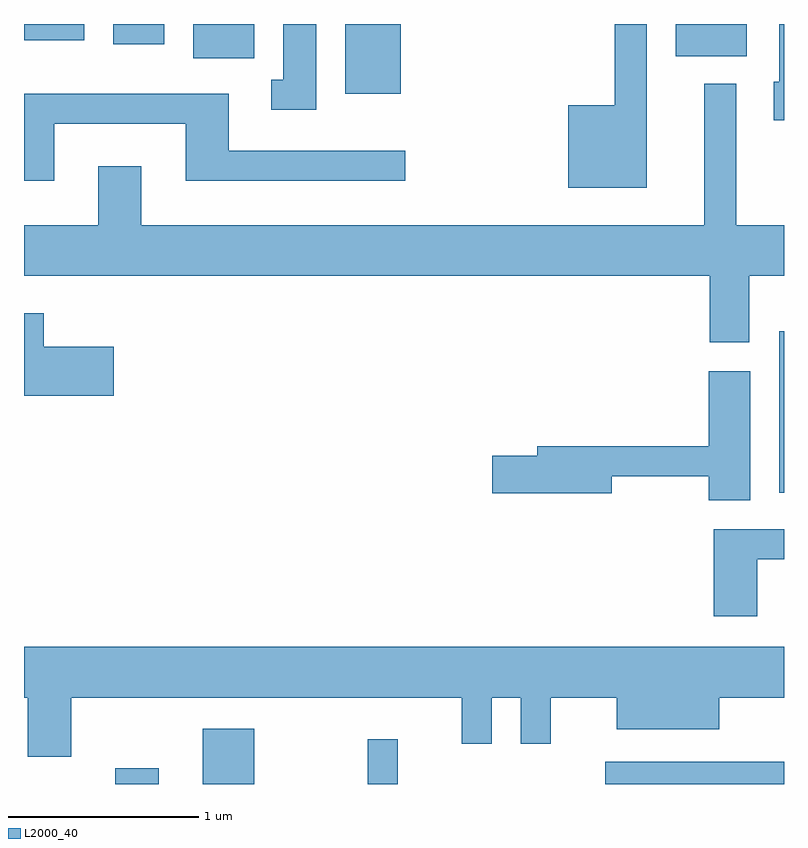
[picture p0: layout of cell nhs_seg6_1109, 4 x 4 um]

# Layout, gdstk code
import gdstk
lib = gdstk.Library(unit=1e-6, precision=1e-09)
def R(c, l, rs):  # rectangles x0, y0, x1, y1
    for r in rs: c.add(gdstk.rectangle(r[:2], r[2:], *l))
def P(c, l, *ps):  # polygons
    for p in ps: c.add(gdstk.Polygon(p, *l))
L2000_40 = (2000, 40)

nhs_seg6_1109 = lib.new_cell('nhs_seg6_1109')
R(nhs_seg6_1109, L2000_40, [(218.091,1636.162,218.319,1636.244), (218.551,1636.162,218.824,1636.454), (219.421,1636.162,219.579,1636.398), (220.671,1636.162,221.611,1636.279), (221.586,1637.696,221.611,1638.544), (219.301,1639.796,219.594,1640.162), (218.501,1639.981,218.824,1640.162), (221.041,1639.991,221.414,1640.162), (218.081,1640.056,218.349,1640.162), (217.611,1640.076,217.929,1640.162)])
P(nhs_seg6_1109, L2000_40, [(219.149,1640.162),(218.976,1640.162),(218.976,1639.869),(218.913,1639.869),(218.913,1639.711),(219.149,1639.711)],
  [(221.611,1640.162),(221.586,1640.162),(221.586,1639.859),(221.556,1639.859),(221.556,1639.656),(221.611,1639.656)],
  [(220.889,1640.162),(220.721,1640.162),(220.721,1639.734),(220.476,1639.734),(220.476,1639.301),(220.889,1639.301)],
  [(221.429,1638.836),(221.611,1638.836),(221.611,1639.104),(221.359,1639.104),(221.359,1639.848),(221.191,1639.848),(221.191,1639.104),(218.229,1639.104),(218.229,1639.414),(218.001,1639.414),(218.001,1639.104),(217.611,1639.104),(217.611,1638.836),(221.221,1638.836),(221.221,1638.486),(221.429,1638.486)],
  [(217.769,1639.636),(218.461,1639.636),(218.461,1639.336),(219.618,1639.336),(219.618,1639.494),(218.689,1639.494),(218.689,1639.794),(217.611,1639.794),(217.611,1639.336),(217.769,1639.336)],
  [(218.084,1638.464),(217.714,1638.464),(217.714,1638.639),(217.611,1638.639),(217.611,1638.206),(218.084,1638.206)],
  [(221.434,1638.334),(221.216,1638.334),(221.216,1637.939),(220.311,1637.939),(220.311,1637.889),(220.076,1637.889),(220.076,1637.691),(220.704,1637.691),(220.704,1637.781),(221.216,1637.781),(221.216,1637.656),(221.434,1637.656)],
  [(221.469,1637.346),(221.611,1637.346),(221.611,1637.504),(221.241,1637.504),(221.241,1637.046),(221.469,1637.046)],
  [(217.611,1636.616),(217.631,1636.616),(217.631,1636.306),(217.859,1636.306),(217.859,1636.616),(219.916,1636.616),(219.916,1636.373),(220.074,1636.373),(220.074,1636.616),(220.226,1636.616),(220.226,1636.373),(220.384,1636.373),(220.384,1636.616),(220.731,1636.616),(220.731,1636.451),(221.269,1636.451),(221.269,1636.616),(221.611,1636.616),(221.611,1636.884),(217.611,1636.884)])

lib.write_gds('nhs_seg6_1109.gds')
